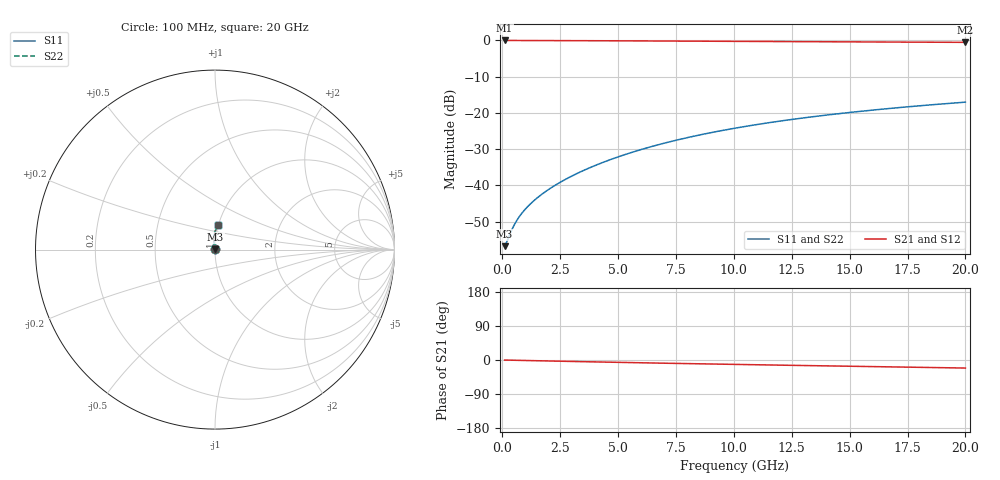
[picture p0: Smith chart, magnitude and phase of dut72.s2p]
! Touchstone file exported from HFSS 2024.1.0
!  File:  C:/UserFiles/LocalFiles/RDL_TSV_Batchsim/temp_RDL_top_72_1778682158.aedt
!  Generated:  10:24:29 PM May 13, 2026
!  Design:  RDL_top
!  Project:  temp_RDL_top_72_1778682158
!  Setup:  Setup1
!  Solution:  Sweep
! Variables:
!  dtsv = 10.80580581um
!  hbump = 3um
!  htsv = 91.67um
!  ldown = 100um
!  lrdl = 346.36um
!  p = 40
!  p1 = 41.29um
!  rhole = 1um
!  t = 450um
!  tdown = 3.915915916um
!  trdl = 4.03um
!  wdown = 15.38538539um
!  wrdl = 28.4um
# GHz S MA R 50.000000
! Terminal data exported
! Port[1] = Box2_T1
! Port[2] = Box2_T2
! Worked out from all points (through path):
!   200 points, 100 MHz to 20 GHz, reference 50 ohm
!   highest |S21| = -0.01 dB at 100 MHz (marker M1); lowest = -0.5 dB at 20 GHz (marker M2)
!   group delay of S21, straight-line fit = 2.9 ps
!   lowest |S11| = -56.8 dB at 100 MHz (marker M3), VSWR 1.00, Z = 50.1 + j0.0608 ohm
!   |S11| at or under -10 dB: start of sweep to end of sweep
!   |S22| runs from -56.8 to -17.0 dB; largest |S21 - S12| = 4.5e-15
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0.1  0.001452 24.7  0.9987 -0.1  0.9987 -0.1  0.001452 24.7
! Gamma 0 0 0 0
! Port Impedance 50 0 50 0
0.2  0.00168 39.1  0.9985 -0.3  0.9985 -0.3  0.001683 39.5
0.4  0.002398 55.4  0.9982 -0.5  0.9982 -0.5  0.002409 55.6
0.5  0.00279 60.0  0.9981 -0.7  0.9981 -0.7  0.002802 60.1
0.6  0.003183 63.4  0.998 -0.8  0.998 -0.8  0.003194 63.5
0.7  0.003573 66.2  0.9979 -0.9  0.9979 -0.9  0.003583 66.3
0.9  0.004346 70.6  0.9977 -1.2  0.9977 -1.2  0.004354 70.6
1.2  0.005509 75.7  0.9974 -1.6  0.9974 -1.6  0.005513 75.6
1.7  0.007521 81.9  0.9966 -2.2  0.9966 -2.2  0.007522 81.9
2.2  0.009673 86.4  0.9956 -2.8  0.9956 -2.8  0.009674 86.4
2.8  0.01247 90.5  0.9941 -3.6  0.9941 -3.6  0.01247 90.5
3.5  0.01603 93.8  0.9921 -4.5  0.9921 -4.5  0.01603 93.8
4.2  0.01992 96.0  0.9899 -5.3  0.9899 -5.3  0.01992 96.1
5  0.02474 97.7  0.9871 -6.2  0.9871 -6.2  0.02475 97.7
5.9  0.03061 98.6  0.9837 -7.3  0.9837 -7.3  0.03062 98.6
6.8  0.03686 98.8  0.9804 -8.3  0.9804 -8.3  0.03688 98.8
8.4  0.04871 98.0  0.9744 -10.0  0.9744 -10.0  0.04874 98.1
10.1  0.06198 96.3  0.9685 -11.7  0.9685 -11.7  0.06202 96.3
11.7  0.07479 94.3  0.9633 -13.3  0.9633 -13.3  0.07484 94.3
13.4  0.08853 91.9  0.9581 -15.0  0.9581 -15.0  0.08858 91.9
16.7  0.115 87.1  0.9491 -18.1  0.9491 -18.1  0.1151 87.2
20  0.1408 82.5  0.9409 -21.2  0.9409 -21.2  0.1408 82.6
